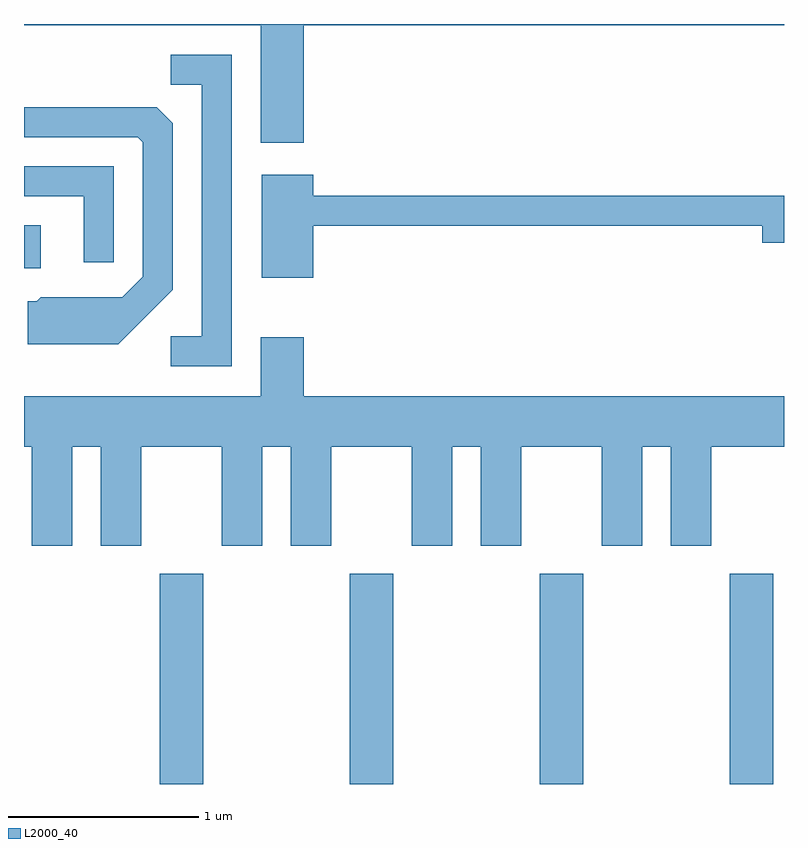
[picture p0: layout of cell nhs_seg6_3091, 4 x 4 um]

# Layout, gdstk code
import gdstk
lib = gdstk.Library(unit=1e-6, precision=1e-09)
def R(c, l, rs):  # rectangles x0, y0, x1, y1
    for r in rs: c.add(gdstk.rectangle(r[:2], r[2:], *l))
def A(c, l, x, y, w, h, nx, ny, dx, dy):  # array of equal rectangles
    R(c, l, [(x+i*dx, y+j*dy, x+i*dx+w, y+j*dy+h) for i in range(nx) for j in range(ny)])
def P(c, l, *ps):  # polygons
    for p in ps: c.add(gdstk.Polygon(p, *l))
L2000_40 = (2000, 40)

nhs_seg6_3091 = lib.new_cell('nhs_seg6_3091')
A(nhs_seg6_3091, L2000_40, 278.326, 1648.162, 0.228, 1.107, 4, 1, 1, 0)
R(nhs_seg6_3091, L2000_40, [(277.611,1650.876,277.699,1651.104)])
P(nhs_seg6_3091, L2000_40, [(279.084,1652.156),(281.611,1652.156),(281.611,1652.162),(277.611,1652.162),(277.611,1652.156),(278.856,1652.156),(278.856,1651.536),(279.084,1651.536)],
  [(278.704,1651.999),(278.383,1651.999),(278.383,1651.841),(278.546,1651.841),(278.546,1650.519),(278.383,1650.519),(278.383,1650.361),(278.704,1650.361)],
  [(278.394,1650.764),(278.394,1651.639),(278.309,1651.724),(277.611,1651.724),(277.611,1651.566),(278.209,1651.566),(278.236,1651.539),(278.236,1650.832),(278.129,1650.724),(277.699,1650.724),(277.679,1650.704),(277.631,1650.704),(277.631,1650.476),(278.107,1650.476)],
  [(278.084,1651.414),(277.611,1651.414),(277.611,1651.256),(277.926,1651.256),(277.926,1650.908),(278.084,1650.908)],
  [(279.134,1651.101),(281.496,1651.101),(281.496,1651.011),(281.611,1651.011),(281.611,1651.259),(279.134,1651.259),(279.134,1651.369),(278.861,1651.369),(278.861,1650.826),(279.134,1650.826)],
  [(277.864,1649.936),(278.016,1649.936),(278.016,1649.416),(278.229,1649.416),(278.229,1649.936),(278.651,1649.936),(278.651,1649.416),(278.864,1649.416),(278.864,1649.936),(279.016,1649.936),(279.016,1649.416),(279.229,1649.416),(279.229,1649.936),(279.651,1649.936),(279.651,1649.416),(279.864,1649.416),(279.864,1649.936),(280.016,1649.936),(280.016,1649.416),(280.229,1649.416),(280.229,1649.936),(280.651,1649.936),(280.651,1649.416),(280.864,1649.416),(280.864,1649.936),(281.016,1649.936),(281.016,1649.416),(281.229,1649.416),(281.229,1649.936),(281.611,1649.936),(281.611,1650.204),(279.084,1650.204),(279.084,1650.514),(278.856,1650.514),(278.856,1650.204),(277.611,1650.204),(277.611,1649.936),(277.651,1649.936),(277.651,1649.416),(277.864,1649.416)])

lib.write_gds('nhs_seg6_3091.gds')
